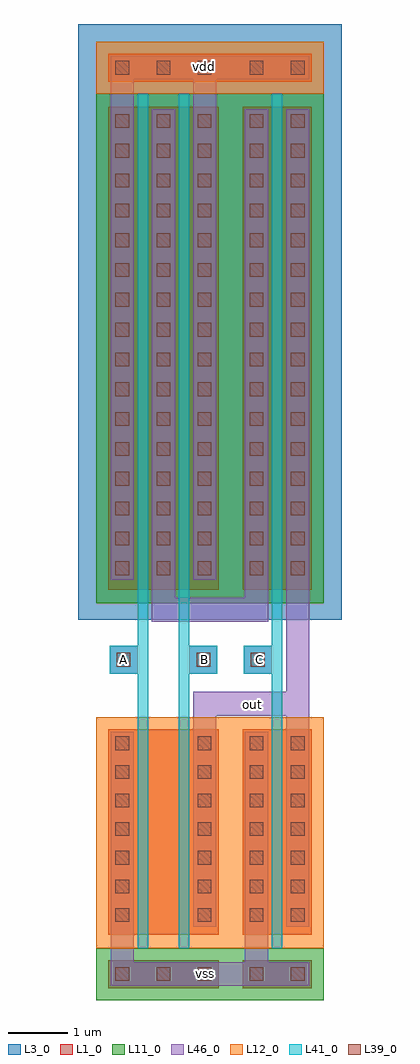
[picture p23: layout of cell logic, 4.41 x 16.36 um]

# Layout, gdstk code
import gdstk
lib = gdstk.Library(unit=1e-6, precision=1e-09)
def R(c, l, rs):  # rectangles x0, y0, x1, y1
    for r in rs: c.add(gdstk.rectangle(r[:2], r[2:], *l))
def A(c, l, x, y, w, h, nx, ny, dx, dy):  # array of equal rectangles
    R(c, l, [(x+i*dx, y+j*dy, x+i*dx+w, y+j*dy+h) for i in range(nx) for j in range(ny)])
L1_0 = (1, 0)
L3_0 = (3, 0)
L11_0 = (11, 0)
L12_0 = (12, 0)
L39_0 = (39, 0)
L41_0 = (41, 0)
L46_0 = (46, 0)

logic = lib.new_cell('logic')
R(logic, L1_0, [(10.93,-9.3,12.78,-8.83), (13.18,-9.3,14.34,-8.83), (10.93,-8.41,12.78,-4.96), (13.18,-8.41,14.34,-4.96), (10.93,-2.625,12.78,5.475), (13.18,-2.625,14.34,5.475), (10.93,5.895,14.34,6.365)])
R(logic, L3_0, [(10.43,-3.125,14.84,6.865)])
R(logic, L11_0, [(10.73,-9.5,14.54,-8.63), (10.73,-2.845,14.54,5.695)])
R(logic, L12_0, [(10.73,-8.63,14.54,-4.76), (10.73,5.695,14.54,6.565)])
A(logic, L39_0, 11.05, -9.18, 0.23, 0.23, 3, 2, 0.69, 6.805)
A(logic, L39_0, 11.05, -8.19, 0.23, 0.23, 1, 7, 0, 0.48)
A(logic, L39_0, 12.43, -8.19, 0.23, 0.23, 1, 7, 0, 0.48)
A(logic, L39_0, 13.3, -8.19, 0.23, 0.23, 1, 7, 0, 0.48)
A(logic, L39_0, 13.99, -8.19, 0.23, 0.23, 1, 7, 0, 0.48)
A(logic, L39_0, 13.3, -2.375, 0.23, 0.23, 1, 16, 0, 0.5)
A(logic, L39_0, 13.99, -2.375, 0.23, 0.23, 1, 16, 0, 0.5)
A(logic, L39_0, 11.05, -1.875, 0.23, 0.23, 3, 15, 0.69, 0.5)
A(logic, L39_0, 11.05, 6.015, 0.23, 0.23, 3, 1, 0.69, 0)
R(logic, L39_0, [(13.3,-9.18,13.53,-8.95), (13.99,-9.18,14.22,-8.95), (11.07,-3.91,11.3,-3.68), (12.41,-3.91,12.64,-3.68), (13.32,-3.91,13.55,-3.68), (13.3,6.015,13.53,6.245), (13.99,6.015,14.22,6.245)])
R(logic, L41_0, [(11.42,-8.63,11.6,5.695), (12.11,-8.63,12.29,5.695), (13.67,-8.63,13.85,5.695), (10.95,-4.03,11.42,-3.56), (12.29,-4.03,12.76,-3.56), (13.2,-4.03,13.67,-3.56)])
R(logic, L46_0, [(10.97,-9.26,14.3,-8.87), (10.97,-9.26,11.36,-5), (13.22,-9.26,13.61,-5), (12.35,-8.27,12.74,-4.33), (13.91,-8.27,14.3,5.435), (12.35,-4.73,14.3,-4.33), (10.95,-4.03,11.42,-3.56), (12.29,-4.03,12.76,-3.56), (13.2,-4.03,13.67,-3.56), (11.66,-3.155,12.05,5.435), (11.66,-3.155,13.61,-2.755), (13.22,-3.155,13.61,5.435), (10.97,-2.455,11.36,6.325), (12.35,-2.455,12.74,6.325), (10.97,5.935,14.3,6.325)])
logic.add(gdstk.Label('vss', (12.56,-9.055), layer=101, texttype=0))
logic.add(gdstk.Label('A', (11.185,-3.79), layer=101, texttype=0))
logic.add(gdstk.Label('B', (12.535,-3.785), layer=101, texttype=0))
logic.add(gdstk.Label('C', (13.46,-3.795), layer=101, texttype=0))
logic.add(gdstk.Label('vdd', (12.54,6.155), layer=101, texttype=0))
logic.add(gdstk.Label('out', (13.355,-4.55), layer=101, texttype=0))

lib.write_gds('logic.gds')
